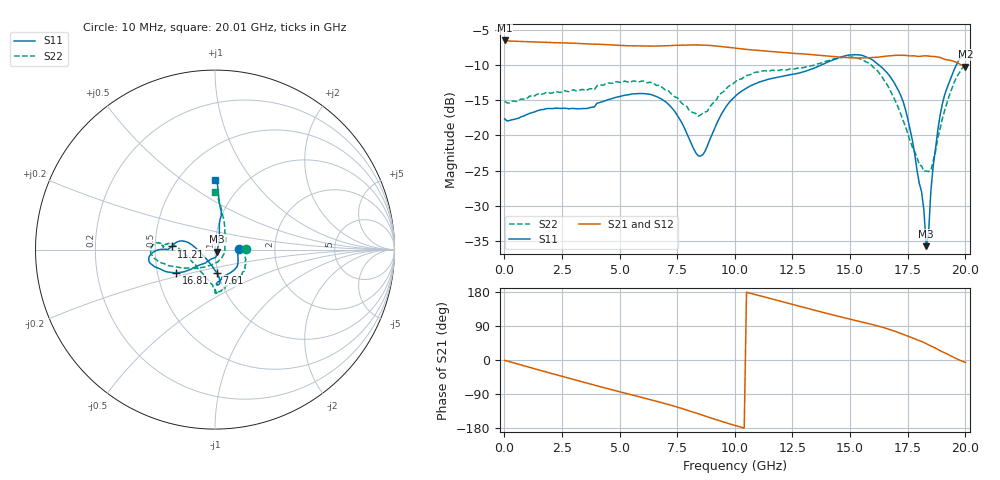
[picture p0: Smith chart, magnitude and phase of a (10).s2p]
! Hittite Microwave Corporation
! 2 Elizabeth Drive
! Chelmsford, MA 01824
! http://www.hittite.com
! Tel: 978-250-3343
! Fax: 978-250-3373
! Device:  HMC424LP3
! Description: 0.5 dB GaAs MMIC 6-Bit Digital Attenuator
! Frequency:  DC -  13.00 GHz
! Package:  LP3  - 3x3 mm Quad Flatpack No-Lead (QFN) Plastic Package: 16 pin
! Ports:  2 RF, 7 DC
!  Pad  1  = Ground
!  Pad  2  = RF IN  = Port 1
!  Pad  3  = Ground
!  Pad  4  = V6
!  Pad  5  = V5
!  Pad  6  = V4
!  Pad  7  = V3
!  Pad  8  = V2
!  Pad  9  = V1
!  Pad 10  = Ground
!  Pad 11  = RF OUT  = Port 2
!  Pad 12  = Ground
!  Pad 15  = VEE
! Control:  -5 Volt control voltage
! State:  8
! Attenuation:  4.0 dB
! Voltages:  Vdd = -5.00 Volts  Idd =  -2.311 mA
!  V1  = 0.00 Volts  I1  =  29.0 uA
!  V2  = 0.00 Volts  I2  =  29.0 uA
!  V3  = 0.00 Volts  I3  =  29.0 uA
!  V4  = -5.00 Volts  I4  =  -1.0 uA
!  V5  = 0.00 Volts  I5  =  29.0 uA
!  V6  = 0.00 Volts  I6  =  30.0 uA
! Data:  The device was measured on evaluation board 105354-1.
!  Data was collected using a calibrated network analyzer.
!  The evaluation circuit board was modeled and simulated.  This was use
!  to removed the evaluation board circuit from the measured data.
!  The reference plane is the edge of the package pin.
! Misc:  Lot xxxx, Unit 1
!  Application 20120001, Data collected in Application 20090083
! Date Measured:  2009-09-15
! Date:  2012-05-14  MJV
! Note:
!  Hittite supplies this data as a sample of measured data at the package pin
!  for this product.  Your particular data for this product may vary.
!  Data was taken at 25 degrees C.
!  Hittite reserves the right to change this data at anytime.
# GHz S MA R 50
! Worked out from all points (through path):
!   201 points, 10 MHz to 20.01 GHz, reference 50 ohm
!   highest |S21| = -6.53 dB at 10 MHz (marker M1); lowest = -10.2 dB at 20.01 GHz (marker M2)
!   group delay of S21, straight-line fit = 48.2 ps
!   lowest |S11| = -35.7 dB at 18.31 GHz (marker M3), VSWR 1.03, Z = 51.2 - j1.09 ohm
!   |S11| at or under -10 dB: start of sweep to 13.76 GHz; 16.25 GHz to 19.62 GHz (3.37 GHz wide, 18.8 % of centre)
!   |S22| runs from -25.1 to -8.9 dB; largest |S21 - S12| = 0.0023
!   S11 on the Smith chart (normalised r, x): 10 MHz: 1.30, +0.01; 7.61 GHz: 0.99, -0.26; 11.21 GHz: 0.61, +0.02; 16.81 GHz: 0.63, -0.17; 20.01 GHz: 0.74, +0.68
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0.01  0.1311 1.7  0.4716 -1.1  0.4694 -1.1  0.1745 1.4
3.41  0.155 -65.0  0.4481 -58.2  0.4473 -58.2  0.2117 -63.4
6.71  0.1851 -81.7  0.4311 -110.6  0.4305 -110.6  0.2266 -90.3
7.61  0.1303 -85.7  0.4363 -126.2  0.4357 -126.2  0.1762 -101.5
8.51  0.0713 -141.2  0.438 -143.8  0.4374 -143.7  0.1394 -145.1
10.01  0.1887 165.2  0.4166 -172.7  0.4159 -172.7  0.2393 172.5
11.21  0.243 175.8  0.3977 167.5  0.3971 167.5  0.2869 175.8
13.41  0.2989 179.7  0.3734 132.1  0.3727 132.2  0.3137 173.0
15.41  0.3723 -169.3  0.3543 102.0  0.3539 102.0  0.3502 -173.8
16.71  0.2662 -151.1  0.3665 80.7  0.3661 80.8  0.2142 -151.7
16.81  0.2516 -149.5  0.3678 78.7  0.3672 78.8  0.1982 -148.8
17.31  0.1734 -140.8  0.3702 67.6  0.3699 67.6  0.127 -128.1
17.71  0.09217 -125.5  0.3667 58.5  0.3662 58.5  0.08252 -98.4
18.11  0.03972 -80.3  0.365 48.9  0.3645 49.0  0.06062 -52.6
18.21  0.02925 -71.2  0.3667 46.1  0.3662 46.2  0.05544 -38.0
18.31  0.01636 -40.8  0.3667 43.1  0.3661 43.2  0.0559 -22.5
18.41  0.01978 37.2  0.3656 39.9  0.3651 40.0  0.05537 0.3
18.51  0.04011 58.0  0.3638 37.2  0.3633 37.3  0.05611 14.0
18.61  0.06005 67.0  0.3629 34.4  0.3623 34.4  0.06586 28.0
19.01  0.1668 80.6  0.352 21.6  0.3515 21.6  0.1311 65.0
19.51  0.2888 85.8  0.3349 6.9  0.3346 6.9  0.2352 81.8
20.01  0.3884 89.6  0.308 -6.4  0.3081 -6.4  0.3205 90.4
